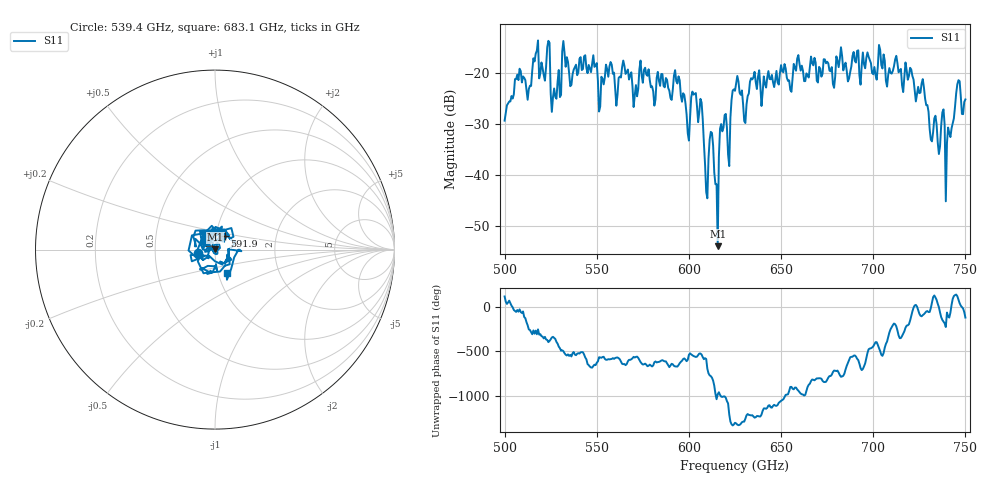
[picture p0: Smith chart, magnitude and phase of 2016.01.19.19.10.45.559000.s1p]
!Created with skrf (http://scikit-rf.org).
# GHz S RI R 50.0
!freq ReS11 ImS11
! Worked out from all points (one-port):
!   401 points, 500 GHz to 750 GHz, reference 50 ohm
!   lowest |S11| = -54.0 dB at 615.6 GHz (marker M1), VSWR 1.00, Z = 50 + j0.199 ohm
!   |S11| at or under -10 dB: start of sweep to end of sweep
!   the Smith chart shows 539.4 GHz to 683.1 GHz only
!   S11 on the Smith chart (normalised r, x): 539.4 GHz: 0.83, -0.03; 591.9 GHz: 1.10, +0.17; 683.1 GHz: 1.10, -0.30
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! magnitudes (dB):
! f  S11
! 500 GHz  -29.3
! 513.1 GHz  -23.1
! 516.9 GHz  -16.1
! 523.8 GHz  -13.6
! 526.9 GHz  -23.0
! 531.2 GHz  -15.7
! 539.4 GHz  -20.4
! 562.5 GHz  -20.6
! 591.9 GHz  -20.4
! 593.8 GHz  -22.0
! 599.4 GHz  -31.8
! 603.1 GHz  -24.0
! 606.9 GHz  -25.7
! 609.4 GHz  -43.3
! 611.9 GHz  -31.5
! 615.6 GHz  -54.0
! 618.1 GHz  -31.4
! 621.9 GHz  -38.2
! 625 GHz  -23.4
! 630.6 GHz  -29.8
! 634.4 GHz  -21.2
! 656.2 GHz  -20.9
! 683.1 GHz  -16.6
! 687.5 GHz  -19.7
! 718.8 GHz  -21.2
! 740.6 GHz  -30.6
! 745.6 GHz  -22.1
! 750 GHz  -25.1
